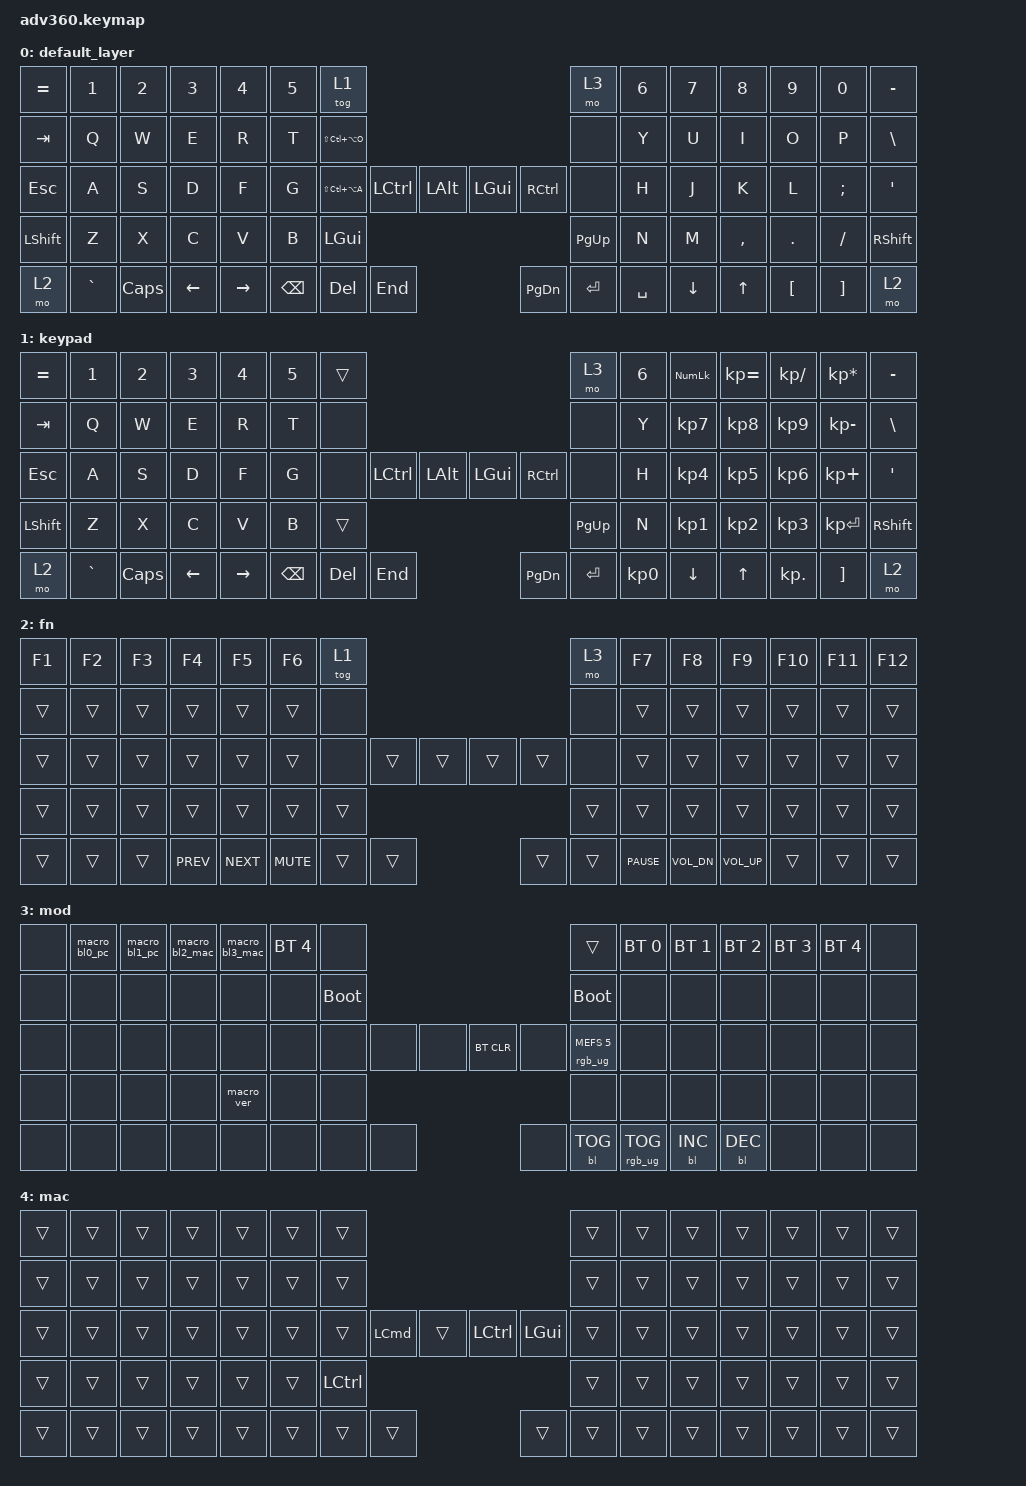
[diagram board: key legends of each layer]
#include <behaviors.dtsi>
#include <dt-bindings/zmk/keys.h>
#include <dt-bindings/zmk/bt.h>
#include <dt-bindings/zmk/rgb.h>
#include <dt-bindings/zmk/backlight.h>

/ {
    behaviors {
      #include "macros.dtsi"
      #include "version.dtsi"
      #ifndef VERSION_MACRO
      macro_ver: macro_ver {
        compatible = "zmk,behavior-macro";
        label = "macro_version";
        #binding-cells = <0>;
        bindings = <&kp RET>;
      };
      #endif

      hm: homerow_mods {
          compatible = "zmk,behavior-hold-tap";
          label = "HOMEROW_MODS";
          #binding-cells = <2>;
          tapping-term-ms = <200>;
          quick_tap_ms = <175>;
          flavor = "tap-preferred";
          bindings = <&kp>, <&kp>;
      };
    };

  keymap {
    compatible = "zmk,keymap";

    default_layer {
      bindings = <
        &kp EQUAL &kp N1    &kp N2   &kp N3   &kp N4     &kp N5 &tog 1                                                           &mo 3 &kp N6 &kp N7 &kp N8    &kp N9   &kp N0   &kp MINUS
        &kp TAB   &kp Q     &kp W    &kp E    &kp R      &kp T  &kp LS(LC(LA(O)))                                                &none &kp Y  &kp U  &kp I     &kp O    &kp P    &kp BSLH
        &kp ESC   &kp A     &kp S    &kp D    &kp F      &kp G  &kp LS(LC(LA(A))) &kp LCTRL &kp LALT &kp LGUI  &kp RCTRL         &none &kp H  &kp J  &kp K     &kp L    &kp SEMI &kp SQT
        &kp LSHFT &kp Z     &kp X    &kp C    &kp V      &kp B                            &kp LGUI &kp PG_UP                           &kp N  &kp M  &kp COMMA &kp DOT  &kp FSLH &kp RSHFT
        &mo 2     &kp GRAVE &kp CAPS &kp LEFT &kp RIGHT                &kp BSPC &kp DEL   &kp END  &kp PG_DN &kp ENTER &kp SPACE              &kp DOWN &kp UP  &kp LBKT &kp RBKT &mo 2
      >;
    };
    keypad {
      bindings = <
        &kp EQUAL &kp N1    &kp N2   &kp N3   &kp N4     &kp N5 &trans                                                           &mo 3 &kp N6 &kp KP_NUM &kp KP_EQUAL &kp KP_DIVIDE &kp KP_MULTIPLY &kp MINUS
        &kp TAB   &kp Q     &kp W    &kp E    &kp R      &kp T  &none                                                            &none &kp Y  &kp KP_N7  &kp KP_N8    &kp KP_N9     &kp KP_MINUS    &kp BSLH
        &kp ESC   &kp A     &kp S    &kp D    &kp F      &kp G  &none           &kp LCTRL &kp LALT &kp LGUI  &kp RCTRL           &none &kp H  &kp KP_N4  &kp KP_N5    &kp KP_N6     &kp KP_PLUS     &kp SQT
        &kp LSHFT &kp Z     &kp X    &kp C    &kp V      &kp B                            &trans &kp PG_UP                             &kp N  &kp KP_N1  &kp KP_N2    &kp KP_N3     &kp KP_ENTER    &kp RSHFT
        &mo 2     &kp GRAVE &kp CAPS &kp LEFT &kp RIGHT                &kp BSPC &kp DEL   &kp END  &kp PG_DN &kp ENTER &kp KP_N0              &kp DOWN   &kp UP       &kp KP_DOT    &kp RBKT        &mo 2
      >;
    };
    fn {
      bindings = <
        &kp F1 &kp F2 &kp F3 &kp F4 &kp F5 &kp F6 &tog 1                                           &mo 3 &kp F7 &kp F8 &kp F9 &kp F10 &kp F11 &kp F12
        &trans &trans &trans &trans &trans &trans  &none                                           &none &trans &trans &trans &trans  &trans  &trans
        &trans &trans &trans &trans &trans &trans  &none        &trans &trans &trans &trans        &none &trans &trans &trans &trans  &trans  &trans
        &trans &trans &trans &trans &trans &trans                      &trans &trans                     &trans &trans &trans &trans  &trans  &trans
        &trans &trans &trans &kp C_PREV &kp C_NEXT       &kp C_MUTE &trans &trans &trans &trans &kp C_PAUSE     &kp C_VOL_DN &kp C_VOL_UP &trans  &trans  &trans
      >;
    };
    mod {
      bindings = <
        &none &macro_bl0_pc &macro_bl1_pc &macro_bl2_mac &macro_bl3_mac &bt BT_SEL 4 &none                                                               &trans                 &bt BT_SEL 0 &bt BT_SEL 1 &bt BT_SEL 2 &bt BT_SEL 3 &bt BT_SEL 4 &none
        &none &none        &none        &none        &none        &none        &bootloader                                                               &bootloader            &none        &none        &none        &none &none &none
        &none &none        &none        &none        &none        &none        &none                   &none &none &bt BT_CLR &none                      &rgb_ug RGB_MEFS_CMD 5 &none        &none        &none        &none &none &none
        &none &none        &none        &none        &macro_ver   &none                                      &none &none                                                        &none        &none        &none        &none &none &none
        &none &none        &none        &none        &none                                       &none &none &none &none      &bl BL_TOG &rgb_ug RGB_TOG                                     &bl BL_INC   &bl BL_DEC   &none &none &none
      >;
    };
    mac {
      bindings = <
        &trans &trans &trans &trans &trans &trans  &trans                                                       &trans &trans &trans &trans &trans  &trans  &trans
        &trans &trans &trans &trans &trans &trans  &trans                                                       &trans &trans &trans &trans &trans  &trans  &trans
        &trans &trans &trans &trans &trans &trans  &trans      &kp LCMD &trans  &kp LCTRL &kp LGUI              &trans &trans &trans &trans &trans  &trans  &trans
        &trans &trans &trans &trans &trans &trans                       &kp LCTRL &trans                               &trans &trans &trans &trans  &trans  &trans
        &trans &trans &trans &trans &trans               &trans &trans &trans     &trans &trans &trans                        &trans &trans &trans  &trans  &trans
      >;
    };
  };
};
